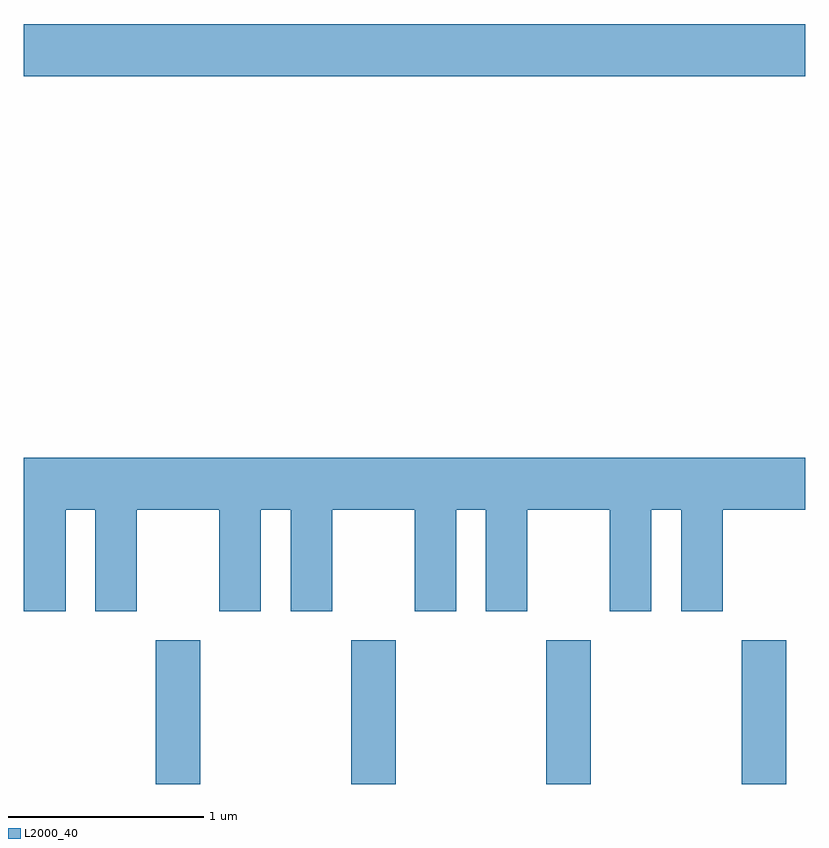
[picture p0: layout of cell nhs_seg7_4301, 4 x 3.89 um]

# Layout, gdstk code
import gdstk
lib = gdstk.Library(unit=1e-6, precision=1e-09)
def R(c, l, rs):  # rectangles x0, y0, x1, y1
    for r in rs: c.add(gdstk.rectangle(r[:2], r[2:], *l))
def A(c, l, x, y, w, h, nx, ny, dx, dy):  # array of equal rectangles
    R(c, l, [(x+i*dx, y+j*dy, x+i*dx+w, y+j*dy+h) for i in range(nx) for j in range(ny)])
def P(c, l, *ps):  # polygons
    for p in ps: c.add(gdstk.Polygon(p, *l))
L2000_40 = (2000, 40)

nhs_seg7_4301 = lib.new_cell('nhs_seg7_4301')
A(nhs_seg7_4301, L2000_40, 318.286, 1706.252, 0.228, 0.737, 4, 1, 1, 0)
R(nhs_seg7_4301, L2000_40, [(317.611,1709.876,321.611,1710.144)])
P(nhs_seg7_4301, L2000_40, [(317.824,1707.656),(317.976,1707.656),(317.976,1707.136),(318.189,1707.136),(318.189,1707.656),(318.611,1707.656),(318.611,1707.136),(318.824,1707.136),(318.824,1707.656),(318.976,1707.656),(318.976,1707.136),(319.189,1707.136),(319.189,1707.656),(319.611,1707.656),(319.611,1707.136),(319.824,1707.136),(319.824,1707.656),(319.976,1707.656),(319.976,1707.136),(320.189,1707.136),(320.189,1707.656),(320.611,1707.656),(320.611,1707.136),(320.824,1707.136),(320.824,1707.656),(320.976,1707.656),(320.976,1707.136),(321.189,1707.136),(321.189,1707.656),(321.611,1707.656),(321.611,1707.924),(317.611,1707.924),(317.611,1707.136),(317.824,1707.136)])

lib.write_gds('nhs_seg7_4301.gds')
